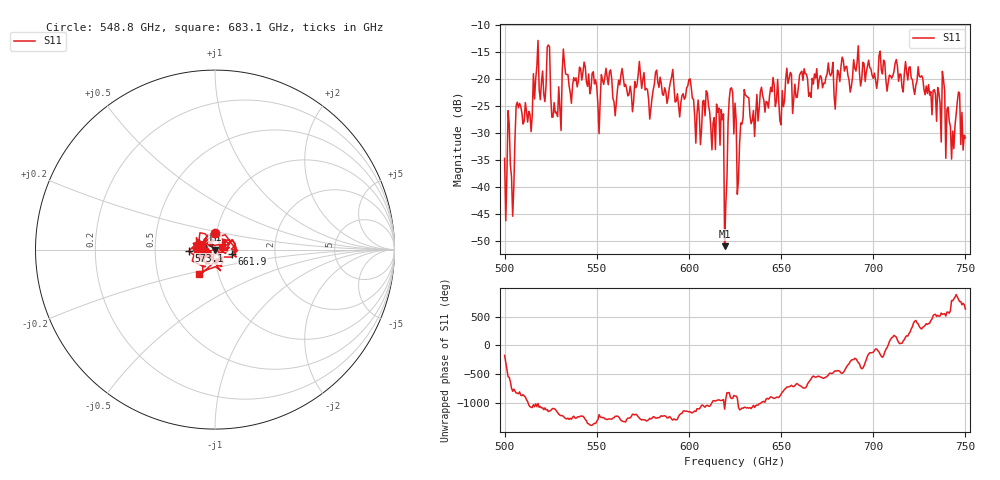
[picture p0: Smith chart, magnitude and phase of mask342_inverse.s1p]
!Created with skrf (http://scikit-rf.org).
# GHz S MA R 50.0
!freq magS11 angS11
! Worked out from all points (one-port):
!   401 points, 500 GHz to 750 GHz, reference 50 ohm
!   lowest |S11| = -50.9 dB at 619.4 GHz (marker M1), VSWR 1.01, Z = 50.3 - j0.116 ohm
!   |S11| at or under -10 dB: start of sweep to end of sweep
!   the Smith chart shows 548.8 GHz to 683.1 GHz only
!   S11 on the Smith chart (normalised r, x): 548.8 GHz: 0.98, +0.18; 573.1 GHz: 0.75, -0.01; 661.9 GHz: 1.21, -0.06; 683.1 GHz: 0.81, -0.22
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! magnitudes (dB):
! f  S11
! 500 GHz  -34.6
! 502.5 GHz  -28.3
! 504.4 GHz  -45.3
! 507.5 GHz  -25.3
! 513.8 GHz  -26.4
! 516.9 GHz  -19.9
! 523.8 GHz  -13.7
! 526.9 GHz  -24.3
! 531.2 GHz  -18.6
! 548.8 GHz  -20.9
! 562.5 GHz  -21.0
! 573.1 GHz  -16.7
! 593.8 GHz  -22.7
! 616.2 GHz  -25.3
! 619.4 GHz  -50.9
! 620.6 GHz  -38.6
! 622.5 GHz  -21.7
! 625 GHz  -24.4
! 627.5 GHz  -31.8
! 631.2 GHz  -23.1
! 634.4 GHz  -27.6
! 656.2 GHz  -26.3
! 661.9 GHz  -20.2
! 683.1 GHz  -15.9
! 687.5 GHz  -22.4
! 718.8 GHz  -20.1
! 745.6 GHz  -24.1
! 750 GHz  -30.8
